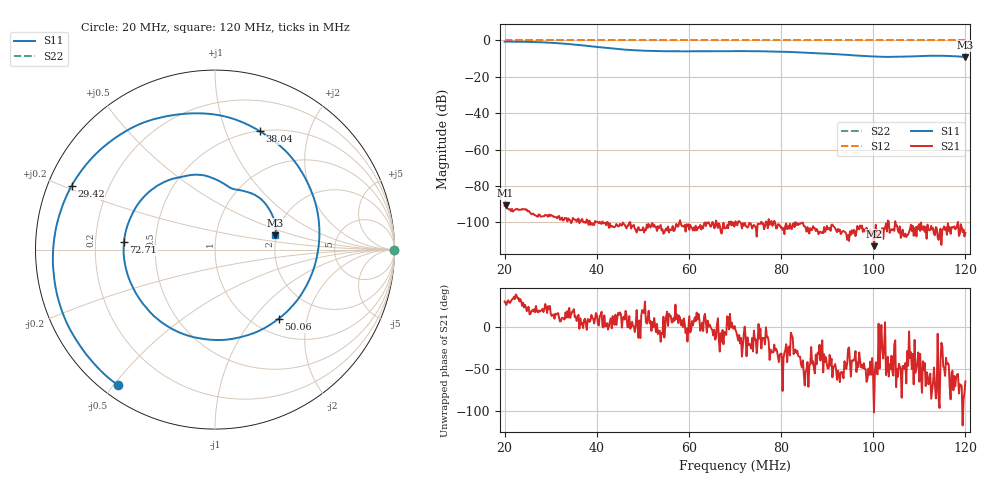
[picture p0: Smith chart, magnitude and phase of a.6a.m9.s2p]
! Anritsu VNA Master:  Model: MS2036C/10/77
! SN:  1601066
! /bd0/18may07/256.ew.m9.s2p
! Existing Calibration Information:
! TYPE:  Current Settings,  Active Cal Settings
! TIME:  05/07/2018 12:17:07 PM,  05/07/2018 12:05:13 PM
! INTERNAL TEMP:  54.8 C,  53.5 C
! # POINTS:  500,  500
! START FREQ:  20.000 MHz,  20.000 MHz
! STOP FREQ:  120.000 MHz,  120.000 MHz
! SOURCE POWER:  High,  High
! IFBW:  50 Hz,  50 Hz
! AVG FACTOR:  1 ,  1
! REF PLANE 1:  0 mm,  0 mm
! REF PLANE 2:  0 mm,  0 mm
! CAL TYPE:  Full S11,  Full S11
! CAL METHOD:  SOLT,  SOLT
! CAL LINE TYPE:  Coax,  Coax
! DUT PORT 1:  K-Conn(F),  K-Conn(F)
! DUT PORT 2:  K-Conn(F),  K-Conn(F)
! CAL STATUS:  OK: Accuracy High,  --
# GHZ S DB R 50.0
! FREQ.GHZ  S11DB  S11A  S21DB  S21A  S12DB  S12A  S22DB  S22A
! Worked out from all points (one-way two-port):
!   500 points, 20 MHz to 120 MHz, reference 50 ohm
!   highest |S21| = -90.63 dB at 20.2 MHz (marker M1); lowest = -113.2 dB at 100.2 MHz (marker M2)
!   lowest |S11| = -9.2 dB at 120 MHz (marker M3), VSWR 2.06, Z = 98.6 + j17.6 ohm
!   |S11| at or under -10 dB: nowhere
!   |S22| runs from 0.0 to 0.0 dB; largest |S21 - S12| = 1
!   S11 on the Smith chart (normalised r, x): 20 MHz: 0.05, -0.51; 29.42 MHz: 0.07, +0.21; 38.04 MHz: 0.50, +1.32; 50.06 MHz: 1.29, -1.36; 72.71 MHz: 0.33, +0.04; 120 MHz: 1.97, +0.35
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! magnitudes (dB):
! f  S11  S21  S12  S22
! 20 MHz  -0.6  -91.0  0.0  0.0
! 20.2 MHz  -0.6  -90.6  0.0  0.0
! 25.01 MHz  -0.8  -94.0  0.0  0.0
! 29.42 MHz  -1.2  -97.0  0.0  0.0
! 33.03 MHz  -1.8  -97.7  0.0  0.0
! 36.83 MHz  -2.7  -98.2  0.0  0.0
! 38.04 MHz  -3.0  -99.2  0.0  0.0
! 44.85 MHz  -4.8  -102.1  0.0  0.0
! 50.06 MHz  -5.6  -102.7  0.0  0.0
! 53.47 MHz  -5.9  -103.4  0.0  0.0
! 57.07 MHz  -6.0  -102.9  0.0  0.0
! 70.1 MHz  -5.9  -99.5  0.0  0.0
! 72.71 MHz  -5.9  -102.9  0.0  0.0
! 80.12 MHz  -6.2  -102.7  0.0  0.0
! 86.73 MHz  -6.9  -104.3  0.0  0.0
! 91.54 MHz  -7.5  -102.6  0.0  0.0
! 96.55 MHz  -8.3  -102.0  0.0  0.0
! 100.2 MHz  -8.8  -113.2  0.0  0.0
! 103.4 MHz  -9.0  -99.7  0.0  0.0
! 113.8 MHz  -8.4  -103.3  0.0  0.0
! 117.6 MHz  -8.7  -102.3  0.0  0.0
! 120 MHz  -9.2  -105.8  0.0  0.0
